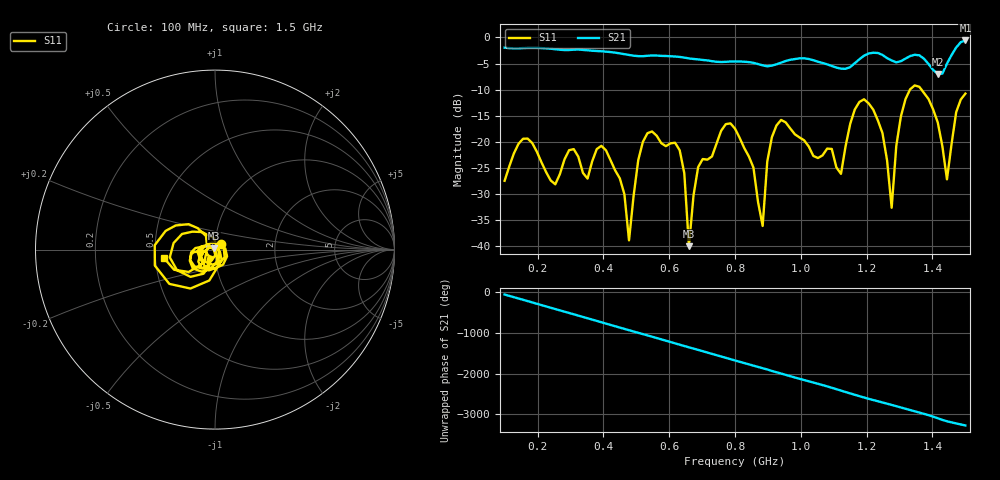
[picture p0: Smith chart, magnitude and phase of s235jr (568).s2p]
! NanoVNA-App
! Date: 2025-09-25 15:08:35
! Start: 100MHz Stop: 1,5GHz Points: 101
! S-Parameter data: F S11 S21 S12 S22
# Hz S RI R 50
!  Frequency  S11_Real  S11_Imag  S21_Real  S21_Imag  S12_Real  S12_Imag  S22_Real  S22_Imag
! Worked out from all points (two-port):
!   101 points, 100 MHz to 1.5 GHz, reference 50 ohm
!   highest |S21| = -0.58 dB at 1.5 GHz (marker M1); lowest = -7.0 dB at 1.416 GHz (marker M2)
!   |S21| within 3 dB of the highest: start of sweep to 505.9 MHz; 522.9 MHz to 596.9 MHz (73.99 MHz wide, 13.2 % of centre) (the widest 2 of 5)
!   lowest |S11| = -40.0 dB at 660 MHz (marker M3), VSWR 1.02, Z = 49.2 + j0.634 ohm
!   |S11| at or under -10 dB: start of sweep to 1.332 GHz; 1.367 GHz to end of sweep
!   S12 and S22 are empty: the file has one direction only
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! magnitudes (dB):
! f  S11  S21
! 100 MHz  -27.5  -2.0
! 156 MHz  -19.4  -2.0
! 338 MHz  -26.0  -2.4
! 408 MHz  -21.6  -2.7
! 478 MHz  -38.9  -3.4
! 520 MHz  -20.0  -3.6
! 576 MHz  -20.3  -3.5
! 632 MHz  -21.6  -3.7
! 660 MHz  -40.0  -4.0
! 688 MHz  -24.8  -4.2
! 800 MHz  -17.5  -4.6
! 884 MHz  -36.1  -5.4
! 926 MHz  -16.9  -5.2
! 1.038 GHz  -22.7  -4.4
! 1.122 GHz  -26.1  -6.0
! 1.192 GHz  -11.9  -3.5
! 1.248 GHz  -18.3  -3.3
! 1.276 GHz  -32.6  -4.4
! 1.332 GHz  -9.9  -3.6
! 1.416 GHz  -16.3  -7.0
! 1.444 GHz  -27.2  -5.0
! 1.5 GHz  -10.8  -0.6
